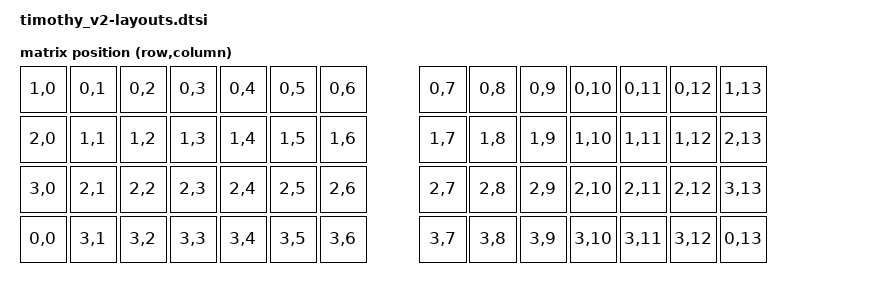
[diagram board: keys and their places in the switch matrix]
// 物理レイアウトとマトリックスの対応表。左右の基板とドングルで共通。

#include <physical_layouts.dtsi>
#include <dt-bindings/zmk/matrix_transform.h>

/ {
    default_layout: default_layout {
        compatible = "zmk,physical-layout";
        display-name = "Default Layout";
        transform = <&default_transform>;

        keys  //                     w   h    x    y     rot    rx    ry
            = <&key_physical_attrs 100 100    0    0       0     0     0>
            , <&key_physical_attrs 100 100  100    0       0     0     0>
            , <&key_physical_attrs 100 100  200    0       0     0     0>
            , <&key_physical_attrs 100 100  300    0       0     0     0>
            , <&key_physical_attrs 100 100  400    0       0     0     0>
            , <&key_physical_attrs 100 100  500    0       0     0     0>
            , <&key_physical_attrs 100 100  600    0       0     0     0>
            , <&key_physical_attrs 100 100  800    0       0     0     0>
            , <&key_physical_attrs 100 100  900    0       0     0     0>
            , <&key_physical_attrs 100 100 1000    0       0     0     0>
            , <&key_physical_attrs 100 100 1100    0       0     0     0>
            , <&key_physical_attrs 100 100 1200    0       0     0     0>
            , <&key_physical_attrs 100 100 1300    0       0     0     0>
            , <&key_physical_attrs 100 100 1400    0       0     0     0>

            , <&key_physical_attrs 100 100    0  100       0     0     0>
            , <&key_physical_attrs 100 100  100  100       0     0     0>
            , <&key_physical_attrs 100 100  200  100       0     0     0>
            , <&key_physical_attrs 100 100  300  100       0     0     0>
            , <&key_physical_attrs 100 100  400  100       0     0     0>
            , <&key_physical_attrs 100 100  500  100       0     0     0>
            , <&key_physical_attrs 100 100  600  100       0     0     0>
            , <&key_physical_attrs 100 100  800  100       0     0     0>
            , <&key_physical_attrs 100 100  900  100       0     0     0>
            , <&key_physical_attrs 100 100 1000  100       0     0     0>
            , <&key_physical_attrs 100 100 1100  100       0     0     0>
            , <&key_physical_attrs 100 100 1200  100       0     0     0>
            , <&key_physical_attrs 100 100 1300  100       0     0     0>
            , <&key_physical_attrs 100 100 1400  100       0     0     0>

            , <&key_physical_attrs 100 100    0  200       0     0     0>
            , <&key_physical_attrs 100 100  100  200       0     0     0>
            , <&key_physical_attrs 100 100  200  200       0     0     0>
            , <&key_physical_attrs 100 100  300  200       0     0     0>
            , <&key_physical_attrs 100 100  400  200       0     0     0>
            , <&key_physical_attrs 100 100  500  200       0     0     0>
            , <&key_physical_attrs 100 100  600  200       0     0     0>
            , <&key_physical_attrs 100 100  800  200       0     0     0>
            , <&key_physical_attrs 100 100  900  200       0     0     0>
            , <&key_physical_attrs 100 100 1000  200       0     0     0>
            , <&key_physical_attrs 100 100 1100  200       0     0     0>
            , <&key_physical_attrs 100 100 1200  200       0     0     0>
            , <&key_physical_attrs 100 100 1300  200       0     0     0>
            , <&key_physical_attrs 100 100 1400  200       0     0     0>

            , <&key_physical_attrs 100 100    0  300       0     0     0>
            , <&key_physical_attrs 100 100  100  300       0     0     0>
            , <&key_physical_attrs 100 100  200  300       0     0     0>
            , <&key_physical_attrs 100 100  300  300       0     0     0>
            , <&key_physical_attrs 100 100  400  300       0     0     0>
            , <&key_physical_attrs 100 100  500  300       0     0     0>
            , <&key_physical_attrs 100 100  600  300       0     0     0>
            , <&key_physical_attrs 100 100  800  300       0     0     0>
            , <&key_physical_attrs 100 100  900  300       0     0     0>
            , <&key_physical_attrs 100 100 1000  300       0     0     0>
            , <&key_physical_attrs 100 100 1100  300       0     0     0>
            , <&key_physical_attrs 100 100 1200  300       0     0     0>
            , <&key_physical_attrs 100 100 1300  300       0     0     0>
            , <&key_physical_attrs 100 100 1400  300       0     0     0>
            ;
    };

    default_transform: default_transform {
        compatible = "zmk,matrix-transform";
        columns = <14>;
        rows = <4>;

        // 一番外側の列 (左 col-0 / 右 col-13、どちらも D2) は基板上で
        // スイッチが 1 段下の row に配線されているため、row を 1 つずらして読む。
        //   物理 1 段目 → row-1, 2 段目 → row-2, 3 段目 → row-3, 4 段目 → row-0
        map = <
            RC(1,0) RC(0,1) RC(0,2) RC(0,3) RC(0,4) RC(0,5) RC(0,6)    RC(0,7) RC(0,8) RC(0,9) RC(0,10) RC(0,11) RC(0,12) RC(1,13)
            RC(2,0) RC(1,1) RC(1,2) RC(1,3) RC(1,4) RC(1,5) RC(1,6)    RC(1,7) RC(1,8) RC(1,9) RC(1,10) RC(1,11) RC(1,12) RC(2,13)
            RC(3,0) RC(2,1) RC(2,2) RC(2,3) RC(2,4) RC(2,5) RC(2,6)    RC(2,7) RC(2,8) RC(2,9) RC(2,10) RC(2,11) RC(2,12) RC(3,13)
            RC(0,0) RC(3,1) RC(3,2) RC(3,3) RC(3,4) RC(3,5) RC(3,6)    RC(3,7) RC(3,8) RC(3,9) RC(3,10) RC(3,11) RC(3,12) RC(0,13)
        >;
    };
};
